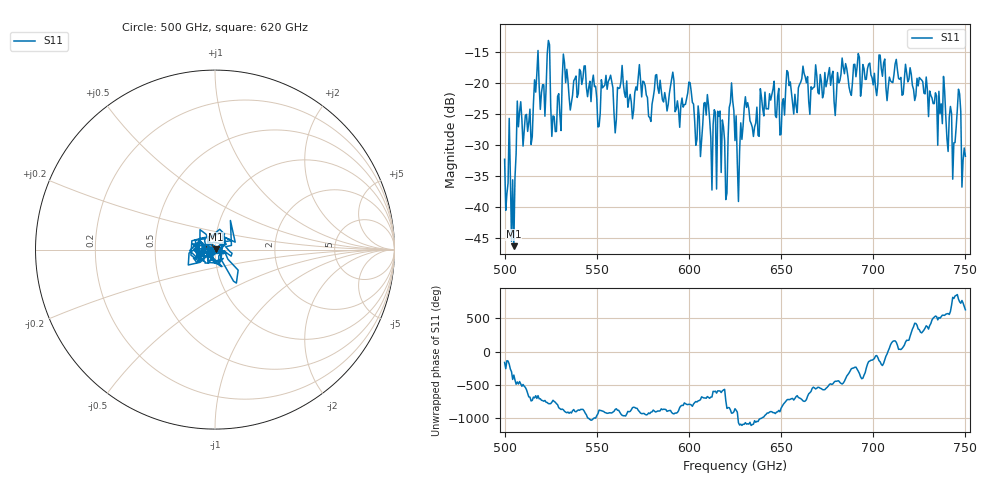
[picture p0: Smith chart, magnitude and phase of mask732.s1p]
!Created with skrf (http://scikit-rf.org).
# GHz S MA R 50.0
!freq magS11 angS11
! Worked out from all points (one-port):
!   401 points, 500 GHz to 750 GHz, reference 50 ohm
!   lowest |S11| = -46.4 dB at 505 GHz (marker M1), VSWR 1.01, Z = 50.5 + j0.0905 ohm
!   |S11| at or under -10 dB: start of sweep to end of sweep
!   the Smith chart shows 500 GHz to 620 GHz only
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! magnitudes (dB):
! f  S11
! 500 GHz  -32.3
! 505 GHz  -46.4
! 508.1 GHz  -24.6
! 513.8 GHz  -24.2
! 516.9 GHz  -21.5
! 523.8 GHz  -13.1
! 526.9 GHz  -25.4
! 531.2 GHz  -19.3
! 556.2 GHz  -19.7
! 560.6 GHz  -25.9
! 562.5 GHz  -20.8
! 578.8 GHz  -25.6
! 590.6 GHz  -19.4
! 593.8 GHz  -22.9
! 600.6 GHz  -19.9
! 605 GHz  -23.7
! 609.4 GHz  -25.2
! 620 GHz  -38.8
! 623.1 GHz  -20.0
! 625 GHz  -29.3
! 627.5 GHz  -31.0
! 631.2 GHz  -23.9
! 656.2 GHz  -23.1
! 687.5 GHz  -21.5
! 718.8 GHz  -19.8
! 743.8 GHz  -29.6
! 746.2 GHz  -21.0
! 750 GHz  -31.8
